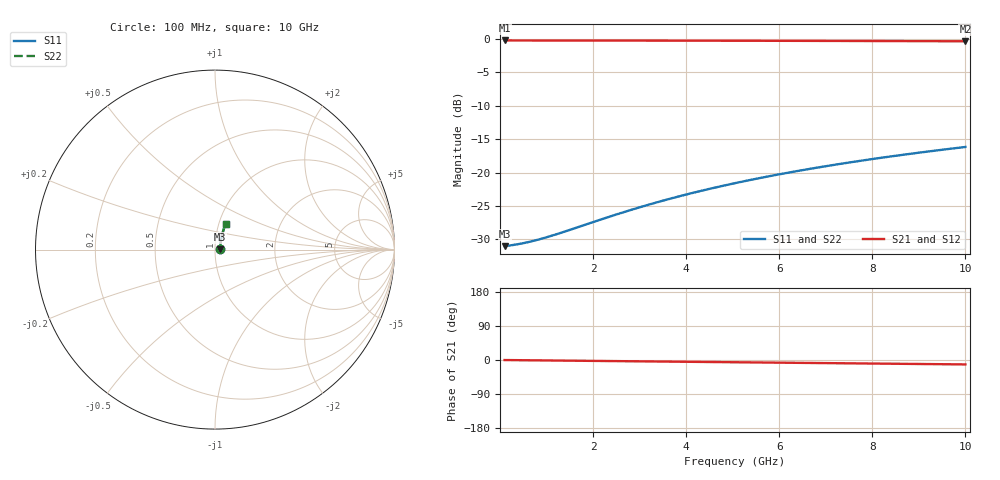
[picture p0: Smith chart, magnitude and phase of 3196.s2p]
# Hz S RI R 50.00
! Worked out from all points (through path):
!   100 points, 100 MHz to 10 GHz, reference 50 ohm
!   highest |S21| = -0.25 dB at 100 MHz (marker M1); lowest = -0.4 dB at 10 GHz (marker M2)
!   group delay of S21, straight-line fit = 3.24 ps
!   lowest |S11| = -31.0 dB at 100 MHz (marker M3), VSWR 1.06, Z = 52.9 + j0.158 ohm
!   |S11| at or under -10 dB: start of sweep to end of sweep
!   |S22| runs from -31.0 to -16.2 dB; largest |S21 - S12| = 0
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1e8  0.0281 0.00149  0.9719 -0.00199  0.9719 -0.00199  0.0281 0.00149
3e8  0.0284 0.00447  0.9716 -0.00598  0.9716 -0.00598  0.0284 0.00447
5e8  0.0287 0.00744  0.9713 -0.00996  0.9713 -0.00996  0.0287 0.00744
8e8  0.029 0.0119  0.971 -0.0159  0.971 -0.0159  0.029 0.0119
1e9  0.0292 0.0149  0.9708 -0.0199  0.9708 -0.0199  0.0292 0.0149
1.2e9  0.0294 0.0178  0.9705 -0.0239  0.9705 -0.0239  0.0294 0.0178
1.8e9  0.0302 0.0267  0.9697 -0.0358  0.9697 -0.0358  0.0302 0.0267
2.3e9  0.031 0.0341  0.9689 -0.0457  0.9689 -0.0457  0.031 0.0341
2.7e9  0.0317 0.04  0.9682 -0.0536  0.9682 -0.0536  0.0317 0.04
3.1e9  0.0325 0.0459  0.9673 -0.0615  0.9673 -0.0615  0.0325 0.0459
3.4e9  0.0332 0.0503  0.9667 -0.0674  0.9667 -0.0674  0.0332 0.0503
3.8e9  0.0341 0.0561  0.9657 -0.0753  0.9657 -0.0753  0.0341 0.0561
4.2e9  0.0352 0.0619  0.9646 -0.0831  0.9646 -0.0831  0.0352 0.0619
4.6e9  0.0363 0.0677  0.9634 -0.091  0.9634 -0.091  0.0363 0.0677
5.1e9  0.0378 0.075  0.9618 -0.1007  0.9618 -0.1007  0.0378 0.075
5.5e9  0.0392 0.0807  0.9604 -0.1085  0.9604 -0.1085  0.0392 0.0807
5.9e9  0.0406 0.0864  0.9589 -0.1163  0.9589 -0.1163  0.0406 0.0864
6.7e9  0.0437 0.0978  0.9557 -0.1317  0.9557 -0.1317  0.0437 0.0978
7.5e9  0.0472 0.109  0.9521 -0.1469  0.9521 -0.1469  0.0472 0.109
8.4e9  0.0515 0.1215  0.9476 -0.164  0.9476 -0.164  0.0515 0.1215
9.2e9  0.0557 0.1323  0.9432 -0.1789  0.9432 -0.1789  0.0557 0.1323
1e10  0.0602 0.1431  0.9384 -0.1937  0.9384 -0.1937  0.0602 0.1431
